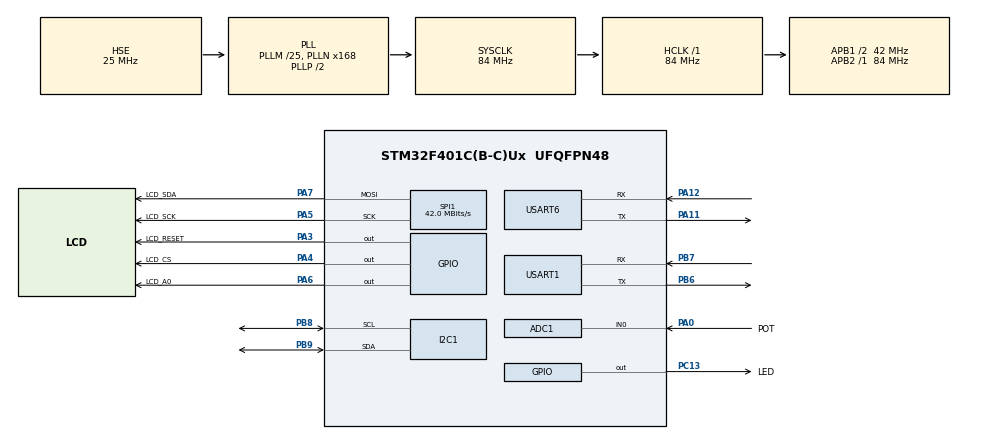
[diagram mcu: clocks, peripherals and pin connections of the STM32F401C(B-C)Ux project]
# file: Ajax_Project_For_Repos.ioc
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ADC1.Channel-0\#ChannelRegularConversion=ADC_CHANNEL_0
ADC1.ContinuousConvMode=ENABLE
ADC1.NbrOfConversionFlag=1
ADC1.Rank-0\#ChannelRegularConversion=1
ADC1.SamplingTime-0\#ChannelRegularConversion=ADC_SAMPLETIME_3CYCLES
ADC1.master=1
Dma.Request0=USART1_RX
Dma.Request1=USART6_RX
Dma.USART1_RX.0.Direction=DMA_PERIPH_TO_MEMORY
Dma.USART1_RX.0.FIFOMode=DMA_FIFOMODE_DISABLE
Dma.USART1_RX.0.Instance=DMA2_Stream2
Dma.USART1_RX.0.MemDataAlignment=DMA_MDATAALIGN_BYTE
Dma.USART1_RX.0.MemInc=DMA_MINC_ENABLE
Dma.USART1_RX.0.Mode=DMA_CIRCULAR
Dma.USART1_RX.0.PeriphDataAlignment=DMA_PDATAALIGN_BYTE
Dma.USART1_RX.0.PeriphInc=DMA_PINC_DISABLE
Dma.USART1_RX.0.Priority=DMA_PRIORITY_MEDIUM
Dma.USART6_RX.1.Direction=DMA_PERIPH_TO_MEMORY
Dma.USART6_RX.1.FIFOMode=DMA_FIFOMODE_DISABLE
Dma.USART6_RX.1.Instance=DMA2_Stream1
Dma.USART6_RX.1.MemDataAlignment=DMA_MDATAALIGN_BYTE
Dma.USART6_RX.1.MemInc=DMA_MINC_ENABLE
Dma.USART6_RX.1.Mode=DMA_CIRCULAR
Dma.USART6_RX.1.PeriphDataAlignment=DMA_PDATAALIGN_BYTE
Dma.USART6_RX.1.PeriphInc=DMA_PINC_DISABLE
Dma.USART6_RX.1.Priority=DMA_PRIORITY_LOW
FREERTOS.BinarySemaphores01=semUART_TX_WIFI,Dynamic,NULL;semUART_RX_WIFI,Dynamic,NULL
FREERTOS.Mutexes01=muxUART_LOG,Dynamic,NULL;muxLcd,Dynamic,NULL;muxUART_WIFI,Dynamic,NULL
FREERTOS.Tasks01=taskWiFi,24,512,StartTaskWiFi,Default,NULL,Dynamic,NULL,NULL;taskBaro,24,512,StartTaskBaro,Default,NULL,Dynamic,NULL,NULL;taskDefault,24,512,StartTaskDefault,Default,NULL,Dynamic,NULL,NULL;taskWiFiListen,24,512,StartTaskWiFiListen,Default,NULL,Dynamic,NULL,NULL
FREERTOS.configTICK_RATE_HZ=500
FREERTOS.configUSE_NEWLIB_REENTRANT=1
Mcu.Family=STM32F4
Mcu.Name=STM32F401C(B-C)Ux
Mcu.Package=UFQFPN48
NVIC.DMA2_Stream1_IRQn=true\:5\:0\:false\:false\:true\:true\:false\:true\:true
NVIC.DMA2_Stream2_IRQn=true\:5\:0\:false\:false\:true\:true\:false\:true\:true
NVIC.PriorityGroup=NVIC_PRIORITYGROUP_4
NVIC.RCC_IRQn=true\:5\:0\:false\:false\:true\:true\:true\:false\:true
NVIC.SPI1_IRQn=true\:5\:0\:false\:false\:true\:true\:true\:true\:true
NVIC.TIM1_BRK_TIM9_IRQn=true\:5\:0\:false\:false\:true\:true\:true\:true\:true
NVIC.USART1_IRQn=true\:5\:0\:false\:false\:true\:true\:true\:true\:true
NVIC.USART6_IRQn=true\:5\:0\:false\:false\:true\:true\:true\:true\:true
PA0-WKUP.GPIO_Label=POT
PA0-WKUP.Signal=ADCx_IN0
PA11.Mode=Asynchronous
PA11.Signal=USART6_TX
PA12.Mode=Asynchronous
PA12.Signal=USART6_RX
PA13.Mode=Serial_Wire
PA13.Signal=SYS_JTMS-SWDIO
PA14.Mode=Serial_Wire
PA14.Signal=SYS_JTCK-SWCLK
PA3.GPIO_Label=LCD_RESET
PA3.PinState=GPIO_PIN_SET
PA3.Signal=GPIO_Output
PA4.GPIO_Label=LCD_CS
PA4.PinState=GPIO_PIN_SET
PA4.Signal=GPIO_Output
PA5.GPIO_Label=LCD_SCK
PA5.Mode=TX_Only_Simplex_Unidirect_Master
PA5.Signal=SPI1_SCK
PA6.GPIO_Label=LCD_A0
PA6.PinState=GPIO_PIN_SET
PA6.Signal=GPIO_Output
PA7.GPIO_Label=LCD_SDA
PA7.Mode=TX_Only_Simplex_Unidirect_Master
PA7.Signal=SPI1_MOSI
PB6.Mode=Asynchronous
PB6.Signal=USART1_TX
PB7.Mode=Asynchronous
PB7.Signal=USART1_RX
PB8.GPIO_Pu=GPIO_PULLUP
PB8.Mode=I2C
PB8.Signal=I2C1_SCL
PB9.GPIO_Pu=GPIO_PULLUP
PB9.Mode=I2C
PB9.Signal=I2C1_SDA
PC13-ANTI_TAMP.GPIO_Label=LED
PC13-ANTI_TAMP.Signal=GPIO_Output
PC14-OSC32_IN.Mode=LSE-External-Oscillator
PC14-OSC32_IN.Signal=RCC_OSC32_IN
PC15-OSC32_OUT.Mode=LSE-External-Oscillator
PC15-OSC32_OUT.Signal=RCC_OSC32_OUT
PH0\ -\ OSC_IN.Mode=HSE-External-Oscillator
PH0\ -\ OSC_IN.Signal=RCC_OSC_IN
PH1\ -\ OSC_OUT.Mode=HSE-External-Oscillator
PH1\ -\ OSC_OUT.Signal=RCC_OSC_OUT
ProjectManager.HeapSize=0x200
ProjectManager.StackSize=0x400
ProjectManager.TargetToolchain=STM32CubeIDE
RCC.48MHZClocksFreq_Value=42000000
RCC.AHBFreq_Value=84000000
RCC.APB1CLKDivider=RCC_HCLK_DIV2
RCC.APB1Freq_Value=42000000
RCC.APB1TimFreq_Value=84000000
RCC.APB2Freq_Value=84000000
RCC.APB2TimFreq_Value=84000000
RCC.CortexFreq_Value=84000000
RCC.HCLKFreq_Value=84000000
RCC.HSE_VALUE=25000000
RCC.HSI_VALUE=16000000
RCC.PLLM=25
RCC.PLLN=168
RCC.PLLSourceVirtual=RCC_PLLSOURCE_HSE
RCC.SYSCLKFreq_VALUE=84000000
RCC.SYSCLKSource=RCC_SYSCLKSOURCE_PLLCLK
RCC.VCOOutputFreq_Value=168000000
SH.ADCx_IN0.0=ADC1_IN0,IN0
SPI1.CalculateBaudRate=42.0 MBits/s
SPI1.Direction=SPI_DIRECTION_2LINES
SPI1.Mode=SPI_MODE_MASTER
SPI1.VirtualType=VM_MASTER
TIM10.Period=999
TIM10.Prescaler=84
TIM9.AutoReloadPreload=TIM_AUTORELOAD_PRELOAD_ENABLE
TIM9.Period=49999
TIM9.Prescaler=839
USART1.VirtualMode=VM_ASYNC
USART6.VirtualMode=VM_ASYNC
VP_FREERTOS_VS_CMSIS_V2.Mode=CMSIS_V2
VP_TIM10_VS_ClockSourceINT.Mode=Enable_Timer
VP_TIM9_VS_ClockSourceINT.Mode=Internal
board=custom

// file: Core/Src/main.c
/* USER CODE BEGIN Header */
/**
  ******************************************************************************
  * @file           : main.c
  * @brief          : Main program body
  ******************************************************************************
  * @attention
  *
  * Copyright (c) 2022 STMicroelectronics.
  * All rights reserved.
  *
  * This software is licensed under terms that can be found in the LICENSE file
  * in the root directory of this software component.
  * If no LICENSE file comes with this software, it is provided AS-IS.
  *
  ******************************************************************************
  */
/* USER CODE END Header */
#include "main.h"
#include "cmsis_os.h"

/* USER CODE BEGIN Includes */
#include "baro.h"
#include "lcd.h"
#include "wifi_at.h"
#include "wifi_creds.h"
#include "streams.h"
#include <stdio.h>	// snprintf
#include <string.h>	// memset
#include <math.h>	// sin
#include <stdlib.h>	// rand

/* USER CODE END Includes */

/* USER CODE BEGIN PD */
#define countof(_a)	(sizeof(_a) / sizeof(_a[0]))

/* USER CODE END PD */

ADC_HandleTypeDef hadc1;

I2C_HandleTypeDef hi2c1;

SPI_HandleTypeDef hspi1;

TIM_HandleTypeDef htim9;
TIM_HandleTypeDef htim10;

UART_HandleTypeDef huart1;
UART_HandleTypeDef huart6;
DMA_HandleTypeDef hdma_usart1_rx;
DMA_HandleTypeDef hdma_usart6_rx;

/* Definitions for taskWiFi */
osThreadId_t taskWiFiHandle;
const osThreadAttr_t taskWiFi_attributes = {
  .name = "taskWiFi",
  .stack_size = 512 * 4,
  .priority = (osPriority_t) osPriorityNormal,
};
/* Definitions for taskBaro */
osThreadId_t taskBaroHandle;
const osThreadAttr_t taskBaro_attributes = {
  .name = "taskBaro",
  .stack_size = 512 * 4,
  .priority = (osPriority_t) osPriorityNormal,
};
/* Definitions for taskDefault */
osThreadId_t taskDefaultHandle;
const osThreadAttr_t taskDefault_attributes = {
  .name = "taskDefault",
  .stack_size = 512 * 4,
  .priority = (osPriority_t) osPriorityNormal,
};
/* Definitions for taskWiFiListen */
osThreadId_t taskWiFiListenHandle;
const osThreadAttr_t taskWiFiListen_attributes = {
  .name = "taskWiFiListen",
  .stack_size = 512 * 4,
  .priority = (osPriority_t) osPriorityNormal,
};
/* Definitions for muxUART_LOG */
osMutexId_t muxUART_LOGHandle;
const osMutexAttr_t muxUART_LOG_attributes = {
  .name = "muxUART_LOG"
};
/* Definitions for muxLcd */
osMutexId_t muxLcdHandle;
const osMutexAttr_t muxLcd_attributes = {
  .name = "muxLcd"
};
/* Definitions for muxUART_WIFI */
osMutexId_t muxUART_WIFIHandle;
const osMutexAttr_t muxUART_WIFI_attributes = {
  .name = "muxUART_WIFI"
};
/* Definitions for semUART_TX_WIFI */
osSemaphoreId_t semUART_TX_WIFIHandle;
const osSemaphoreAttr_t semUART_TX_WIFI_attributes = {
  .name = "semUART_TX_WIFI"
};
/* Definitions for semUART_RX_WIFI */
osSemaphoreId_t semUART_RX_WIFIHandle;
const osSemaphoreAttr_t semUART_RX_WIFI_attributes = {
  .name = "semUART_RX_WIFI"
};
/* USER CODE BEGIN PV */
volatile uint32_t pressure;

/* USER CODE END PV */

void SystemClock_Config(void);
static void MX_GPIO_Init(void);
static void MX_DMA_Init(void);
static void MX_ADC1_Init(void);
static void MX_TIM9_Init(void);
static void MX_TIM10_Init(void);
static void MX_USART1_UART_Init(void);
static void MX_I2C1_Init(void);
static void MX_SPI1_Init(void);
static void MX_USART6_UART_Init(void);
void StartTaskWiFi(void *argument);
void StartTaskBaro(void *argument);
void StartTaskDefault(void *argument);
void StartTaskWiFiListen(void *argument);

/* USER CODE BEGIN 0 */
char text[100];

/* USER CODE END 0 */

int main(void)
{

  /* MCU Configuration--------------------------------------------------------*/

  /* Reset of all peripherals, Initializes the Flash interface and the Systick. */
  HAL_Init();

  /* Configure the system clock */
  SystemClock_Config();

  /* Initialize all configured peripherals */
  MX_GPIO_Init();
  MX_DMA_Init();
  MX_ADC1_Init();
  MX_TIM9_Init();
  MX_TIM10_Init();
  MX_USART1_UART_Init();
  MX_I2C1_Init();
  MX_SPI1_Init();
  MX_USART6_UART_Init();

  /* Init scheduler */
  osKernelInitialize();
  /* Create the mutex(es) */
  /* creation of muxUART_LOG */
  muxUART_LOGHandle = osMutexNew(&muxUART_LOG_attributes);

  /* creation of muxLcd */
  muxLcdHandle = osMutexNew(&muxLcd_attributes);

  /* creation of muxUART_WIFI */
  muxUART_WIFIHandle = osMutexNew(&muxUART_WIFI_attributes);

  /* Create the semaphores(s) */
  /* creation of semUART_TX_WIFI */
  semUART_TX_WIFIHandle = osSemaphoreNew(1, 1, &semUART_TX_WIFI_attributes);

  /* creation of semUART_RX_WIFI */
  semUART_RX_WIFIHandle = osSemaphoreNew(1, 1, &semUART_RX_WIFI_attributes);

  /* Create the thread(s) */
  /* creation of taskWiFi */
  taskWiFiHandle = osThreadNew(StartTaskWiFi, NULL, &taskWiFi_attributes);

  /* creation of taskBaro */
  taskBaroHandle = osThreadNew(StartTaskBaro, NULL, &taskBaro_attributes);

  /* creation of taskDefault */
  taskDefaultHandle = osThreadNew(StartTaskDefault, NULL, &taskDefault_attributes);

  /* creation of taskWiFiListen */
  taskWiFiListenHandle = osThreadNew(StartTaskWiFiListen, NULL, &taskWiFiListen_attributes);

  /* USER CODE BEGIN RTOS_THREADS */
  streams_init();

  /* add threads, ... */
  /* USER CODE END RTOS_THREADS */

  /* Start scheduler */
  osKernelStart();

  /* We should never get here as control is now taken by the scheduler */
  /* Infinite loop */
  while (1)
  {

  }
}

void SystemClock_Config(void)
{
  RCC_OscInitTypeDef RCC_OscInitStruct = {0};
  RCC_ClkInitTypeDef RCC_ClkInitStruct = {0};

  /** Configure the main internal regulator output voltage
  */
  __HAL_RCC_PWR_CLK_ENABLE();
  __HAL_PWR_VOLTAGESCALING_CONFIG(PWR_REGULATOR_VOLTAGE_SCALE2);

  /** Initializes the RCC Oscillators according to the specified parameters
  * in the RCC_OscInitTypeDef structure.
  */
  RCC_OscInitStruct.OscillatorType = RCC_OSCILLATORTYPE_HSE;
  RCC_OscInitStruct.HSEState = RCC_HSE_ON;
  RCC_OscInitStruct.PLL.PLLState = RCC_PLL_ON;
  RCC_OscInitStruct.PLL.PLLSource = RCC_PLLSOURCE_HSE;
  RCC_OscInitStruct.PLL.PLLM = 25;
  RCC_OscInitStruct.PLL.PLLN = 168;
  RCC_OscInitStruct.PLL.PLLP = RCC_PLLP_DIV2;
  RCC_OscInitStruct.PLL.PLLQ = 4;
  if (HAL_RCC_OscConfig(&RCC_OscInitStruct) != HAL_OK)
  {
    Error_Handler();
  }

  /** Initializes the CPU, AHB and APB buses clocks
  */
  RCC_ClkInitStruct.ClockType = RCC_CLOCKTYPE_HCLK|RCC_CLOCKTYPE_SYSCLK
                              |RCC_CLOCKTYPE_PCLK1|RCC_CLOCKTYPE_PCLK2;
  RCC_ClkInitStruct.SYSCLKSource = RCC_SYSCLKSOURCE_PLLCLK;
  RCC_ClkInitStruct.AHBCLKDivider = RCC_SYSCLK_DIV1;
  RCC_ClkInitStruct.APB1CLKDivider = RCC_HCLK_DIV2;
  RCC_ClkInitStruct.APB2CLKDivider = RCC_HCLK_DIV1;

  if (HAL_RCC_ClockConfig(&RCC_ClkInitStruct, FLASH_LATENCY_2) != HAL_OK)
  {
    Error_Handler();
  }
}

static void MX_ADC1_Init(void)
{

  ADC_ChannelConfTypeDef sConfig = {0};

  /** Configure the global features of the ADC (Clock, Resolution, Data Alignment and number of conversion)
  */
  hadc1.Instance = ADC1;
  hadc1.Init.ClockPrescaler = ADC_CLOCK_SYNC_PCLK_DIV4;
  hadc1.Init.Resolution = ADC_RESOLUTION_12B;
  hadc1.Init.ScanConvMode = DISABLE;
  hadc1.Init.ContinuousConvMode = ENABLE;
  hadc1.Init.DiscontinuousConvMode = DISABLE;
  hadc1.Init.ExternalTrigConvEdge = ADC_EXTERNALTRIGCONVEDGE_NONE;
  hadc1.Init.ExternalTrigConv = ADC_SOFTWARE_START;
  hadc1.Init.DataAlign = ADC_DATAALIGN_RIGHT;
  hadc1.Init.NbrOfConversion = 1;
  hadc1.Init.DMAContinuousRequests = DISABLE;
  hadc1.Init.EOCSelection = ADC_EOC_SINGLE_CONV;
  if (HAL_ADC_Init(&hadc1) != HAL_OK)
  {
    Error_Handler();
  }

  /** Configure for the selected ADC regular channel its corresponding rank in the sequencer and its sample time.
  */
  sConfig.Channel = ADC_CHANNEL_0;
  sConfig.Rank = 1;
  sConfig.SamplingTime = ADC_SAMPLETIME_3CYCLES;
  if (HAL_ADC_ConfigChannel(&hadc1, &sConfig) != HAL_OK)
  {
    Error_Handler();
  }

}

static void MX_I2C1_Init(void)
{

  hi2c1.Instance = I2C1;
  hi2c1.Init.ClockSpeed = 100000;
  hi2c1.Init.DutyCycle = I2C_DUTYCYCLE_2;
  hi2c1.Init.OwnAddress1 = 0;
  hi2c1.Init.AddressingMode = I2C_ADDRESSINGMODE_7BIT;
  hi2c1.Init.DualAddressMode = I2C_DUALADDRESS_DISABLE;
  hi2c1.Init.OwnAddress2 = 0;
  hi2c1.Init.GeneralCallMode = I2C_GENERALCALL_DISABLE;
  hi2c1.Init.NoStretchMode = I2C_NOSTRETCH_DISABLE;
  if (HAL_I2C_Init(&hi2c1) != HAL_OK)
  {
    Error_Handler();
  }

}

static void MX_SPI1_Init(void)
{

  /* SPI1 parameter configuration*/
  hspi1.Instance = SPI1;
  hspi1.Init.Mode = SPI_MODE_MASTER;
  hspi1.Init.Direction = SPI_DIRECTION_2LINES;
  hspi1.Init.DataSize = SPI_DATASIZE_8BIT;
  hspi1.Init.CLKPolarity = SPI_POLARITY_LOW;
  hspi1.Init.CLKPhase = SPI_PHASE_1EDGE;
  hspi1.Init.NSS = SPI_NSS_SOFT;
  hspi1.Init.BaudRatePrescaler = SPI_BAUDRATEPRESCALER_2;
  hspi1.Init.FirstBit = SPI_FIRSTBIT_MSB;
  hspi1.Init.TIMode = SPI_TIMODE_DISABLE;
  hspi1.Init.CRCCalculation = SPI_CRCCALCULATION_DISABLE;
  hspi1.Init.CRCPolynomial = 10;
  if (HAL_SPI_Init(&hspi1) != HAL_OK)
  {
    Error_Handler();
  }

}

static void MX_TIM9_Init(void)
{

  TIM_ClockConfigTypeDef sClockSourceConfig = {0};

  htim9.Instance = TIM9;
  htim9.Init.Prescaler = 839;
  htim9.Init.CounterMode = TIM_COUNTERMODE_UP;
  htim9.Init.Period = 49999;
  htim9.Init.ClockDivision = TIM_CLOCKDIVISION_DIV1;
  htim9.Init.AutoReloadPreload = TIM_AUTORELOAD_PRELOAD_ENABLE;
  if (HAL_TIM_Base_Init(&htim9) != HAL_OK)
  {
    Error_Handler();
  }
  sClockSourceConfig.ClockSource = TIM_CLOCKSOURCE_INTERNAL;
  if (HAL_TIM_ConfigClockSource(&htim9, &sClockSourceConfig) != HAL_OK)
  {
    Error_Handler();
  }

}

static void MX_TIM10_Init(void)
{

  htim10.Instance = TIM10;
  htim10.Init.Prescaler = 84;
  htim10.Init.CounterMode = TIM_COUNTERMODE_UP;
  htim10.Init.Period = 999;
  htim10.Init.ClockDivision = TIM_CLOCKDIVISION_DIV1;
  htim10.Init.AutoReloadPreload = TIM_AUTORELOAD_PRELOAD_DISABLE;
  if (HAL_TIM_Base_Init(&htim10) != HAL_OK)
  {
    Error_Handler();
  }

}

static void MX_USART1_UART_Init(void)
{

  huart1.Instance = USART1;
  huart1.Init.BaudRate = 115200;
  huart1.Init.WordLength = UART_WORDLENGTH_8B;
  huart1.Init.StopBits = UART_STOPBITS_1;
  huart1.Init.Parity = UART_PARITY_NONE;
  huart1.Init.Mode = UART_MODE_TX_RX;
  huart1.Init.HwFlowCtl = UART_HWCONTROL_NONE;
  huart1.Init.OverSampling = UART_OVERSAMPLING_16;
  if (HAL_UART_Init(&huart1) != HAL_OK)
  {
    Error_Handler();
  }

}

static void MX_USART6_UART_Init(void)
{

  huart6.Instance = USART6;
  huart6.Init.BaudRate = 115200;
  huart6.Init.WordLength = UART_WORDLENGTH_8B;
  huart6.Init.StopBits = UART_STOPBITS_1;
  huart6.Init.Parity = UART_PARITY_NONE;
  huart6.Init.Mode = UART_MODE_TX_RX;
  huart6.Init.HwFlowCtl = UART_HWCONTROL_NONE;
  huart6.Init.OverSampling = UART_OVERSAMPLING_16;
  if (HAL_UART_Init(&huart6) != HAL_OK)
  {
    Error_Handler();
  }

}

static void MX_DMA_Init(void)
{

  /* DMA controller clock enable */
  __HAL_RCC_DMA2_CLK_ENABLE();

  /* DMA interrupt init */
  /* DMA2_Stream1_IRQn interrupt configuration */
  HAL_NVIC_SetPriority(DMA2_Stream1_IRQn, 5, 0);
  HAL_NVIC_EnableIRQ(DMA2_Stream1_IRQn);
  /* DMA2_Stream2_IRQn interrupt configuration */
  HAL_NVIC_SetPriority(DMA2_Stream2_IRQn, 5, 0);
  HAL_NVIC_EnableIRQ(DMA2_Stream2_IRQn);

}

static void MX_GPIO_Init(void)
{
  GPIO_InitTypeDef GPIO_InitStruct = {0};

  /* GPIO Ports Clock Enable */
  __HAL_RCC_GPIOC_CLK_ENABLE();
  __HAL_RCC_GPIOH_CLK_ENABLE();
  __HAL_RCC_GPIOA_CLK_ENABLE();
  __HAL_RCC_GPIOB_CLK_ENABLE();

  /*Configure GPIO pin Output Level */
  HAL_GPIO_WritePin(LED_GPIO_Port, LED_Pin, GPIO_PIN_RESET);

  /*Configure GPIO pin Output Level */
  HAL_GPIO_WritePin(GPIOA, LCD_RESET_Pin|LCD_CS_Pin|LCD_A0_Pin, GPIO_PIN_SET);

  /*Configure GPIO pin : LED_Pin */
  GPIO_InitStruct.Pin = LED_Pin;
  GPIO_InitStruct.Mode = GPIO_MODE_OUTPUT_PP;
  GPIO_InitStruct.Pull = GPIO_NOPULL;
  GPIO_InitStruct.Speed = GPIO_SPEED_FREQ_LOW;
  HAL_GPIO_Init(LED_GPIO_Port, &GPIO_InitStruct);

  /*Configure GPIO pins : LCD_RESET_Pin LCD_CS_Pin LCD_A0_Pin */
  GPIO_InitStruct.Pin = LCD_RESET_Pin|LCD_CS_Pin|LCD_A0_Pin;
  GPIO_InitStruct.Mode = GPIO_MODE_OUTPUT_PP;
  GPIO_InitStruct.Pull = GPIO_NOPULL;
  GPIO_InitStruct.Speed = GPIO_SPEED_FREQ_LOW;
  HAL_GPIO_Init(GPIOA, &GPIO_InitStruct);

}

/* USER CODE BEGIN 4 */
void HAL_GPIO_EXTI_Callback(uint16_t GPIO_Pin)
{
}

/* USER CODE END 4 */

void StartTaskWiFi(void *argument)
	{
	  /* USER CODE BEGIN 5 */
	  // Wait for WiFi init
	  osThreadFlagsWait(FLAG_WIFI_RDY, osFlagsWaitAll, osWaitForever);

	  // And try to connect to AP
	  printf("Try to connect to '%s'... ", wifi_ap);
	  wifi_status_t st = wifi_connect_to_ap(wifi_ap, wifi_pass, pdMS_TO_TICKS(30000));
	  if (st) {
	    if (st == WIFI_ERR_TMT)
	      printf("timeout\n");
	    else if (st == WIFI_ERR_NO_AP)
	      printf("no AP\n");
	    else if (st == WIFI_ERR_NO_IP)
	      printf("didn't get IP\n");
	    else
	      printf("ERROR\n");
	    while (1) {
	      osDelay(10);
	    }
	  }
	  printf("OK\n");
	  lcd_set_text_size(2, 2);
	  lcd_set_cursor(4, 4);
	  lcd_print(wifi_ap);

	  uint32_t ip[4], mac[6];
	  if (wifi_get_own_ip(ip, mac) == WIFI_OK) {
	    printf("IP: %lu.%lu.%lu.%lu, MAC: %02lX:%02lX:%02lX:%02lX:%02lX:%02lX\n",
	        ip[0], ip[1], ip[2], ip[3],
	        mac[0], mac[1], mac[2],
	        mac[3], mac[4], mac[5]);
	    sprintf(text, "%ld.%ld.%ld.%ld", ip[0], ip[1], ip[2], ip[3]);
	    lcd_set_text_size(2, 2);
	    lcd_set_cursor(3, 2);
	    lcd_print(text);
	  } else {
	    sprintf(text, "none");
	    lcd_set_text_size(2, 2);
	    lcd_set_cursor(3, 2);
	    lcd_print(text);
	  }

	  wifi_server(1, 80);
	  lcd_set_text_size(2, 2);
	  lcd_set_cursor(0, 5);
	  lcd_print("SRV START");

	  /* Infinite loop */
	  for(;;) {
	    osDelay(pdMS_TO_TICKS(1000));
	  }
	  /* USER CODE END 5 */
	}

void StartTaskBaro(void *argument)
{
  /* USER CODE BEGIN StartTaskBaro */
  osThreadFlagsWait(FLAG_BARO_RDY, osFlagsNoClear | osFlagsWaitAny, osWaitForever);
  lcd_set_text_size(1, 1);
  lcd_set_cursor(0, 12);
  lcd_print("Pressure:");

  /* Infinite loop */
  for(;;) {
    pressure = baro_read_press();
    sprintf(text, "%ld.%02ld hPa\n      ", pressure/100, pressure%100);
    lcd_set_text_size(1, 1);
    lcd_set_cursor(10, 12);
    lcd_print(text);
    osDelay(pdMS_TO_TICKS(1000));
  }
  /* USER CODE END StartTaskBaro */
}

/* USER CODE BEGIN Header_StartTaskDefault */
void StartTaskDefault(void *argument)
{
	/* USER CODE BEGIN StartTaskDefault */

	  lcd_init();
	  lcd_fill(ST7735_BLUE);
	  lcd_set_text_bg_color(ST7735_BLUE);
	  lcd_set_text_color(ST7735_YELLOW);
	  //lcd_set_text_size(2, 2);
	  lcd_set_cursor(0, 0);
	  lcd_print("Init LCD... ");
	  lcd_print("Baro:");
	  lcd_set_cursor(0, 2);
	  lcd_print("WiFi:");
	  lcd_set_cursor(0, 3);
	  lcd_print("IP:");
	  lcd_set_cursor(0, 5);
	  lcd_print("AP:");
	  lcd_print("OK\n");

	  lcd_print("Init Barometer... ");
	  baro_stat_t b_st = baro_init();
	  //lcd_set_text_size(2, 2);
	  lcd_set_cursor(5, 12);
	  if (b_st) {
	    lcd_print("FAIL");
	    printf("ERROR\n");
	  } else {
	    lcd_print("OK");
	    printf("OK\n");
	    osThreadFlagsSet(taskBaroHandle, FLAG_BARO_RDY);
	  }

	  lcd_print("Init WIFI... ");
	  wifi_status_t w_st = wifi_init();
	  //lcd_set_text_size(2, 2);
	  lcd_set_cursor(6, 15);
	  if (w_st) {
	    lcd_print("FAIL");
	    if (w_st == WIFI_ERR_TMT)
	      printf("timeout\n");
	    else
	      printf("ERROR\n");

	  } else {
	    printf("OK\n");
	    lcd_print("OK");
	    osThreadFlagsSet(taskWiFiHandle, FLAG_WIFI_RDY);
	  }

	  /* Infinite loop */
	  for(;;) {
	    osDelay(pdMS_TO_TICKS(1000));
	  }
	  /* USER CODE END StartTaskDefault */
	}

void Error_Handler(void)
{
  __disable_irq();
  while (1)
  {
  }
}
